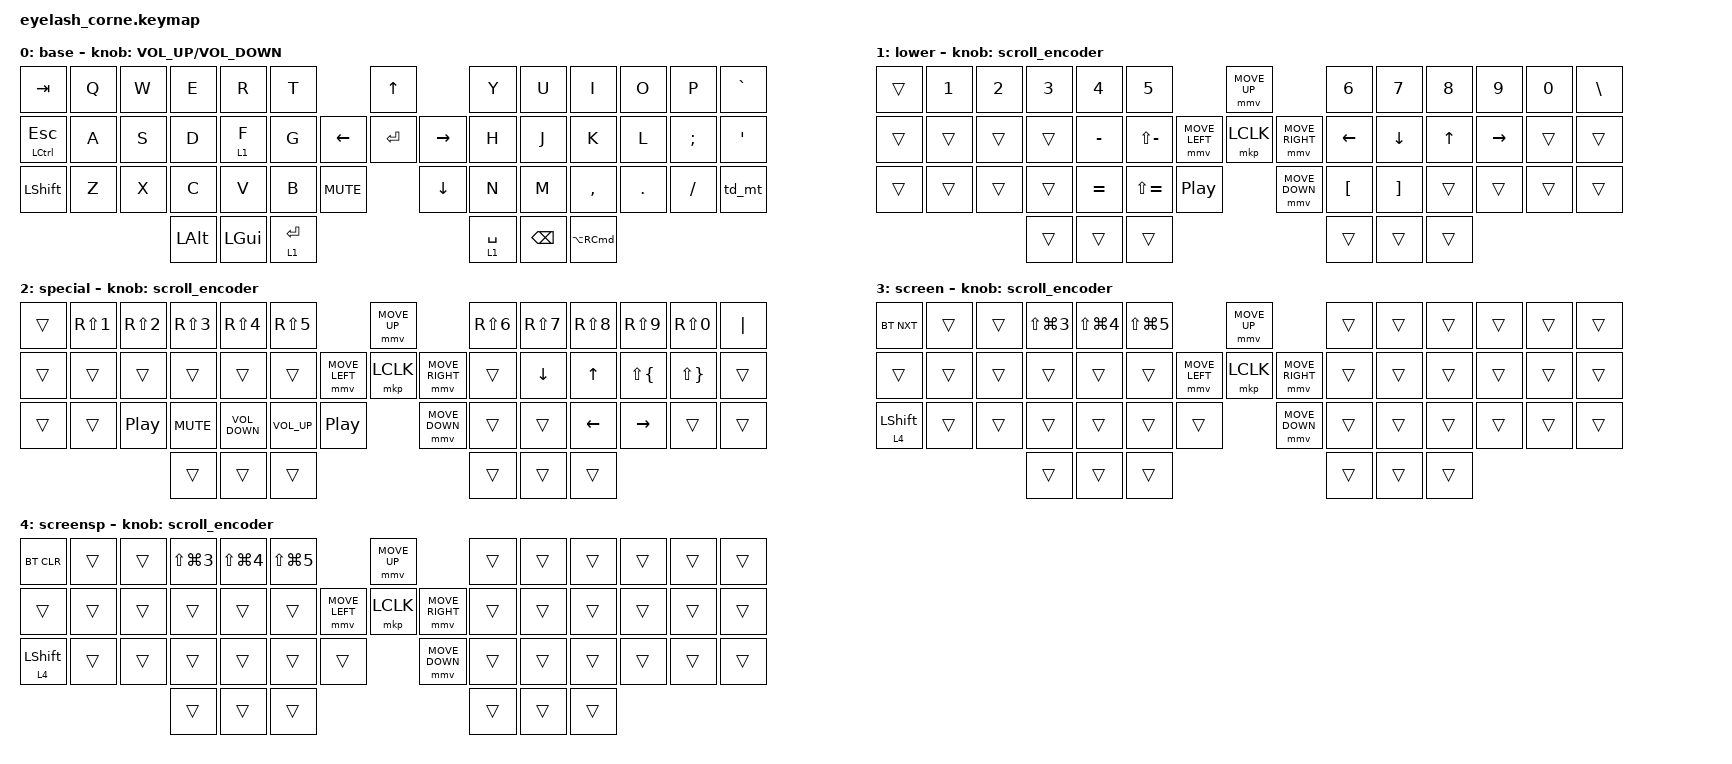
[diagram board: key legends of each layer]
#define ZMK_POINTING_DEFAULT_MOVE_VAL 1200  // 600
#define ZMK_POINTING_DEFAULT_SCRL_VAL 25   // 10

#include <input/processors.dtsi>
#include <zephyr/dt-bindings/input/input-event-codes.h>
#include <behaviors.dtsi>
#include <dt-bindings/zmk/bt.h>
#include <dt-bindings/zmk/keys.h>
#include <dt-bindings/zmk/pointing.h>
#include <dt-bindings/zmk/rgb.h>

&mmv_input_listener { input-processors = <&zip_xy_scaler 2 1>; };

&msc_input_listener { input-processors = <&zip_scroll_scaler 2 1>; };

&msc {
    acceleration-exponent = <1>;      // 0
    time-to-max-speed-ms = <100>;       // 300
    delay-ms = <0>;                   // 0
};

&mmv {
    time-to-max-speed-ms = <500>;
    acceleration-exponent = <1>;
    trigger-period-ms = <16>;
};

&soft_off { hold-time-ms = <2000>; };

/ {
    behaviors {
        tl: tap_layer {
            compatible = "zmk,behavior-hold-tap";
            label = "TAP_LAYER";
            bindings = <&mo>, <&kp>;

            #binding-cells = <2>;
            tapping-term-ms = <200>;
            quick-tap-ms = <0>;
            flavor = "tap-preferred";
        };

        tp: tap_preferred {
            compatible = "zmk,behavior-hold-tap";
            label = "TAP_PREFERRED";
            bindings = <&kp>, <&kp>;

            #binding-cells = <2>;
            tapping-term-ms = <200>;
            quick-tap-ms = <0>;
            flavor = "tap-preferred";
        };

        td0: td0 {
            compatible = "zmk,behavior-tap-dance";
            display-name = "Shift/Caps Lock Tap Dance";
            #binding-cells = <0>;
            bindings = <&kp LEFT_SHIFT>, <&kp CAPS>;
        };

        td_mt: tap_dance_mod_tap {
            compatible = "zmk,behavior-tap-dance";
            label = "TAP_DANCE_MOD_TAP";
            #binding-cells = <0>;
            bindings = <&mo 2>, <&tog 3>;
        };
    };

    rgb_encoder: rgb_encoder {
        compatible = "zmk,behavior-sensor-rotate";
        #sensor-binding-cells = <0>;
        bindings = <&rgb_ug RGB_BRI>, <&rgb_ug RGB_BRD>;
    };

    scroll_encoder: scroll_encoder {
        compatible = "zmk,behavior-sensor-rotate";
        #sensor-binding-cells = <0>;
        bindings = <&msc SCRL_DOWN>, <&msc SCRL_UP>;

        tap-ms = <100>;
    };

    combos {
        compatible = "zmk,combos";

        softoff {
            bindings = <&soft_off>;
            key-positions = <1 15 29>;
        };
    };

    keymap {
        compatible = "zmk,keymap";

        base {
            display-name = "base";
            label = "base";
            bindings = <
&kp TAB        &kp Q  &kp W  &kp E         &kp R         &kp T                                &kp UP                &kp Y        &kp U          &kp I                  &kp O    &kp P     &kp GRAVE
&tp LCTRL ESC  &kp A  &kp S  &kp D         &lt 1 F       &kp G                      &kp LEFT  &kp ENTER  &kp RIGHT  &kp H        &kp J          &kp K                  &kp L    &kp SEMI  &kp SQT
&kp LSHIFT     &kp Z  &kp X  &kp C         &kp V         &kp B        &kp C_MUTE              &kp DOWN              &kp N        &kp M          &kp COMMA              &kp DOT  &kp FSLH  &td_mt
                             &kp LEFT_ALT  &kp LEFT_GUI  &tl 1 ENTER                                                &lt 1 SPACE  &kp BACKSPACE  &kp LA(RIGHT_COMMAND)
            >;

            sensor-bindings = <&inc_dec_kp C_VOLUME_UP C_VOLUME_DOWN>;
        };

        lower {
            display-name = "lower";
            label = "lower";
            bindings = <
&trans  &kp N1  &kp N2  &kp N3  &kp N4     &kp N5                                             &mmv MOVE_UP                     &kp N6    &kp N7    &kp N8  &kp N9     &kp N0  &kp BACKSLASH
&trans  &trans  &trans  &trans  &kp MINUS  &kp LS(MINUS)                      &mmv MOVE_LEFT  &mkp LCLK       &mmv MOVE_RIGHT  &kp LEFT  &kp DOWN  &kp UP  &kp RIGHT  &trans  &trans
&trans  &trans  &trans  &trans  &kp EQUAL  &kp LS(EQUAL)  &kp C_PLAY_PAUSE                    &mmv MOVE_DOWN                   &kp LBKT  &kp RBKT  &trans  &trans     &trans  &trans
                        &trans  &trans     &trans                                                                              &trans    &trans    &trans
            >;

            sensor-bindings = <&scroll_encoder>;
        };

        special {
            display-name = "special";
            label = "special";
            bindings = <
&trans  &kp RS(N1)  &kp RS(N2)        &kp RS(N3)  &kp RS(N4)         &kp RS(N5)                                        &mmv MOVE_UP                     &kp RS(N6)  &kp RS(N7)  &kp RS(N8)      &kp RS(N9)    &kp RS(N0)    &kp PIPE
&trans  &trans      &trans            &trans      &trans             &trans                            &mmv MOVE_LEFT  &mkp LCLK       &mmv MOVE_RIGHT  &trans      &kp DOWN    &kp UP          &kp LS(LBRC)  &kp LS(RBRC)  &trans
&trans  &trans      &kp C_PLAY_PAUSE  &kp C_MUTE  &kp C_VOLUME_DOWN  &kp C_VOL_UP  &kp C_PLAY_PAUSE                    &mmv MOVE_DOWN                   &trans      &trans      &kp LEFT_ARROW  &kp RIGHT     &trans        &trans
                                      &trans      &trans             &trans                                                                             &trans      &trans      &trans
            >;

            sensor-bindings = <&scroll_encoder>;
        };

        screen {
            label = "screen";
            display-name = "screen";
            bindings = <
&bt BT_NXT    &trans  &trans  &kp LS(LG(NUMBER_3))  &kp LS(LG(NUMBER_4))  &kp LS(LG(NUMBER_5))                            &mmv MOVE_UP                     &trans  &trans  &trans  &trans  &trans  &trans
&trans        &trans  &trans  &trans                &trans                &trans                          &mmv MOVE_LEFT  &mkp LCLK       &mmv MOVE_RIGHT  &trans  &trans  &trans  &trans  &trans  &trans
&tl 4 LSHIFT  &trans  &trans  &trans                &trans                &trans                &trans                    &mmv MOVE_DOWN                   &trans  &trans  &trans  &trans  &trans  &trans
                              &trans                &trans                &trans                                                                           &trans  &trans  &trans
            >;

            sensor-bindings = <&scroll_encoder>;
        };

        screensp {
            label = "screensp";
            display-name = "screensp";
            bindings = <
&bt BT_CLR     &trans  &trans  &kp LS(LG(NUMBER_3))  &kp LS(LG(NUMBER_4))  &kp LS(LG(NUMBER_5))                            &mmv MOVE_UP                     &trans  &trans  &trans  &trans  &trans  &trans
&trans         &trans  &trans  &trans                &trans                &trans                          &mmv MOVE_LEFT  &mkp LCLK       &mmv MOVE_RIGHT  &trans  &trans  &trans  &trans  &trans  &trans
&tl 4 LSHIFT   &trans  &trans  &trans                &trans                &trans                &trans                    &mmv MOVE_DOWN                   &trans  &trans  &trans  &trans  &trans  &trans
                               &trans                &trans                &trans                                                                           &trans  &trans  &trans
            >;

            sensor-bindings = <&scroll_encoder>;
        };
    };
};
